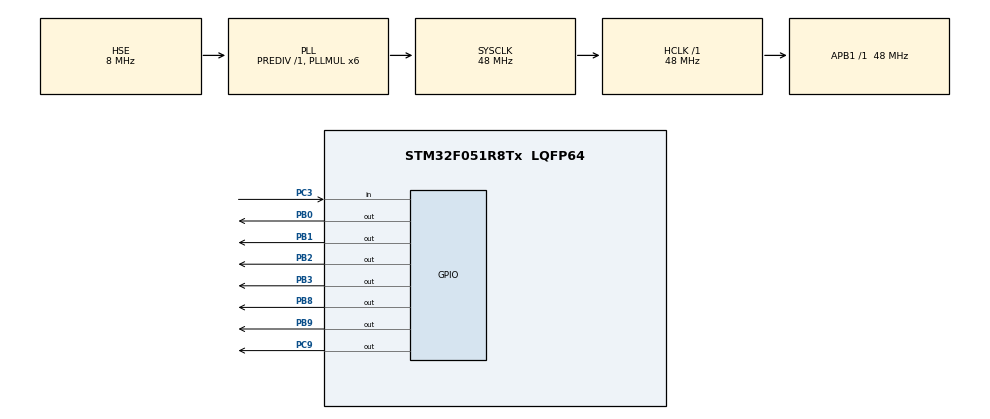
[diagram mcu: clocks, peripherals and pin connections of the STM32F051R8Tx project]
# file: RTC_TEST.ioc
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Mcu.Family=STM32F0
RCC.PLLSourceVirtual=RCC_PLLSOURCE_HSE
VP_IWDG_VS_IWDG.Mode=IWDG_Activate
RTC.AlarmDateWeekDay-Alarm\ A=12
VP_RTC_VS_RTC_Activate.Mode=RTC_Enabled
RTC.WeekDay=RTC_WEEKDAY_THURSDAY
VP_RTC_VS_RTC_Alarm_A_Intern.Mode=Alarm A
RCC.SYSCLKSource=RCC_SYSCLKSOURCE_PLLCLK
ProjectManager.StackSize=0x400
NVIC.RTC_IRQn=true\:0\:0\:false\:false\:true\:true\:true
ProjectManager.TargetToolchain=STM32CubeIDE
RCC.HCLKFreq_Value=48000000
PC3.Signal=GPIO_Input
RCC.AHBFreq_Value=48000000
PF0-OSC_IN.Mode=HSE-External-Oscillator
RTC.Minutes=20
PB2.Signal=GPIO_Output
board=STM32F0DISCOVERY
RCC.PLLMUL=RCC_PLL_MUL6
RTC.Month=RTC_MONTH_JUNE
Mcu.Name=STM32F051R8Tx
RTC.Alarm-Alarm\ A=RTC_ALARM_A
RTC.Hours_A-Alarm\ A=10
RTC.Minutes_A-Alarm\ A=21
PB3.Signal=GPIO_Output
RCC.SYSCLKFreq_VALUE=48000000
RTC.Hours=10
Mcu.Package=LQFP64
PB9.Signal=GPIO_Output
PB1.Signal=GPIO_Output
VP_RTC_VS_RTC_Calendar.Mode=RTC_Calendar
ProjectManager.HeapSize=0x200
IWDG.Prescaler=IWDG_PRESCALER_128
RCC.APB1TimFreq_Value=48000000
PB8.Signal=GPIO_Output
PC9.Signal=GPIO_Output
PF0-OSC_IN.Signal=RCC_OSC_IN
PF1-OSC_OUT.Mode=HSE-External-Oscillator
RTC.Seconds=30
RCC.APB1Freq_Value=48000000
PB0.Signal=GPIO_Output
IWDG.Window=312
RTC.Date=12
PF1-OSC_OUT.Signal=RCC_OSC_OUT

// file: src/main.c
/* USER CODE BEGIN Header */
/**
  ******************************************************************************
  * @file           : main.c
  * @brief          : Main program body
  ******************************************************************************
  * @attention
  *
  * <h2><center>&copy; Copyright (c) 2021 STMicroelectronics.
  * All rights reserved.</center></h2>
  *
  * This software component is licensed by ST under BSD 3-Clause license,
  * the "License"; You may not use this file except in compliance with the
  * License. You may obtain a copy of the License at:
  *                        opensource.org/licenses/BSD-3-Clause
  *
  ******************************************************************************
  */
/* USER CODE END Header */
#include "main.h"

/* USER CODE BEGIN Includes */
#include "LCD.h"
#include "stdio.h"
/* USER CODE END Includes */

IWDG_HandleTypeDef hiwdg;

RTC_HandleTypeDef hrtc;

/* USER CODE BEGIN PV */
RTC_DateTypeDef gDate;
RTC_TimeTypeDef gTime;
char time[10];
char date[10];
/* USER CODE END PV */

void SystemClock_Config(void);
static void MX_GPIO_Init(void);
static void MX_RTC_Init(void);
static void MX_IWDG_Init(void);

/* USER CODE BEGIN 0 */
//-------------------------------------------------------------------------------------

void Set_Time(void)
{
	  RTC_TimeTypeDef sTime = {0};
	  RTC_DateTypeDef sDate = {0};

	  sTime.Hours = 0x17;
	  sTime.Minutes = 0x18;
	  sTime.Seconds = 0x00;
	  sTime.DayLightSaving = RTC_DAYLIGHTSAVING_NONE;
	  sTime.StoreOperation = RTC_STOREOPERATION_RESET;

	  if (HAL_RTC_SetTime(&hrtc, &sTime, RTC_FORMAT_BCD) != HAL_OK)
	  {
		  Error_Handler();
	  }
	  sDate.WeekDay = RTC_WEEKDAY_THURSDAY;
	  sDate.Month = RTC_MONTH_JUNE;
	  sDate.Date = 0x07;
	  sDate.Year = 0x21;

	  if (HAL_RTC_SetDate(&hrtc, &sDate, RTC_FORMAT_BCD) != HAL_OK)
	  {
		  Error_Handler();
	  }

	  HAL_RTCEx_BKUPWrite(&hrtc, RTC_BKP_DR1, 0x32F2);
}

//-------------------------------------------------------------------------------------

void Set_Alarm(void)
{
	  RTC_AlarmTypeDef sAlarm = {0};

	  sAlarm.AlarmTime.Hours = 0x10;
	  sAlarm.AlarmTime.Minutes = 0x21;
	  sAlarm.AlarmTime.Seconds = 0x0;
	  sAlarm.AlarmTime.SubSeconds = 0x0;
	  sAlarm.AlarmTime.DayLightSaving = RTC_DAYLIGHTSAVING_NONE;
	  sAlarm.AlarmTime.StoreOperation = RTC_STOREOPERATION_RESET;
	  sAlarm.AlarmMask = RTC_ALARMMASK_NONE;
	  sAlarm.AlarmSubSecondMask = RTC_ALARMSUBSECONDMASK_ALL;
	  sAlarm.AlarmDateWeekDaySel = RTC_ALARMDATEWEEKDAYSEL_DATE;
	  sAlarm.AlarmDateWeekDay = 0x12;
	  sAlarm.Alarm = RTC_ALARM_A;

	  if (HAL_RTC_SetAlarm_IT(&hrtc, &sAlarm, RTC_FORMAT_BCD) != HAL_OK)
	  {
		  Error_Handler();
	  }
}

//-------------------------------------------------------------------------------------

void Get_Time(void)
{
	HAL_RTC_GetTime(&hrtc, &gTime, RTC_FORMAT_BIN);
	HAL_RTC_GetDate(&hrtc, &gDate, RTC_FORMAT_BIN);
}

//-------------------------------------------------------------------------------------

void Display_Time(void)
{
	LCD_SetPos(3,0);
	sprintf((char *)time,"%02d:%02d:%02d",gTime.Hours, gTime.Minutes, gTime.Seconds);
	LCD_String(time);

	LCD_SetPos(3,1);
	sprintf((char *)date,"%02d:%02d:%02d",gDate.Date, gDate.Month, 2000 + gDate.Year);
	LCD_String(date);
}

/* USER CODE END 0 */

int main(void)
{

  /* MCU Configuration--------------------------------------------------------*/

  /* Reset of all peripherals, Initializes the Flash interface and the Systick. */
  HAL_Init();

  /* Configure the system clock */
  SystemClock_Config();

  /* Initialize all configured peripherals */
  MX_GPIO_Init();
  MX_RTC_Init();
  MX_IWDG_Init();
  /* USER CODE BEGIN 2 */

  LCD_ini();

  if (HAL_RTCEx_BKUPRead(&hrtc, RTC_BKP_DR1) != 0x32F2)
  {
	  Set_Time();
  }

  /* USER CODE END 2 */

  /* Infinite loop */
  /* USER CODE BEGIN WHILE */
  while (1)
  {
	  Get_Time();
	  Display_Time();
	  HAL_Delay(70);
	  HAL_IWDG_Refresh(&hiwdg);
	  HAL_Delay(850);
	  HAL_GPIO_TogglePin(GPIOC, GPIO_PIN_9);

    /* USER CODE END WHILE */

  }
}

void SystemClock_Config(void)
{
  RCC_OscInitTypeDef RCC_OscInitStruct = {0};
  RCC_ClkInitTypeDef RCC_ClkInitStruct = {0};
  RCC_PeriphCLKInitTypeDef PeriphClkInit = {0};

  /** Initializes the RCC Oscillators according to the specified parameters
  * in the RCC_OscInitTypeDef structure.
  */
  RCC_OscInitStruct.OscillatorType = RCC_OSCILLATORTYPE_LSI|RCC_OSCILLATORTYPE_HSE;
  RCC_OscInitStruct.HSEState = RCC_HSE_ON;
  RCC_OscInitStruct.LSIState = RCC_LSI_ON;
  RCC_OscInitStruct.PLL.PLLState = RCC_PLL_ON;
  RCC_OscInitStruct.PLL.PLLSource = RCC_PLLSOURCE_HSE;
  RCC_OscInitStruct.PLL.PLLMUL = RCC_PLL_MUL6;
  RCC_OscInitStruct.PLL.PREDIV = RCC_PREDIV_DIV1;
  if (HAL_RCC_OscConfig(&RCC_OscInitStruct) != HAL_OK)
  {
    Error_Handler();
  }
  /** Initializes the CPU, AHB and APB buses clocks
  */
  RCC_ClkInitStruct.ClockType = RCC_CLOCKTYPE_HCLK|RCC_CLOCKTYPE_SYSCLK
                              |RCC_CLOCKTYPE_PCLK1;
  RCC_ClkInitStruct.SYSCLKSource = RCC_SYSCLKSOURCE_PLLCLK;
  RCC_ClkInitStruct.AHBCLKDivider = RCC_SYSCLK_DIV1;
  RCC_ClkInitStruct.APB1CLKDivider = RCC_HCLK_DIV1;

  if (HAL_RCC_ClockConfig(&RCC_ClkInitStruct, FLASH_LATENCY_1) != HAL_OK)
  {
    Error_Handler();
  }
  PeriphClkInit.PeriphClockSelection = RCC_PERIPHCLK_RTC;
  PeriphClkInit.RTCClockSelection = RCC_RTCCLKSOURCE_LSI;
  if (HAL_RCCEx_PeriphCLKConfig(&PeriphClkInit) != HAL_OK)
  {
    Error_Handler();
  }
}

static void MX_IWDG_Init(void)
{

  hiwdg.Instance = IWDG;
  hiwdg.Init.Prescaler = IWDG_PRESCALER_64;
  hiwdg.Init.Window = 625;
  hiwdg.Init.Reload = 624;
  if (HAL_IWDG_Init(&hiwdg) != HAL_OK)
  {
    Error_Handler();
  }

}

static void MX_RTC_Init(void)
{

  /** Initialize RTC Only
  */
  hrtc.Instance = RTC;
  hrtc.Init.HourFormat = RTC_HOURFORMAT_24;
  hrtc.Init.AsynchPrediv = 127;
  hrtc.Init.SynchPrediv = 255;
  hrtc.Init.OutPut = RTC_OUTPUT_DISABLE;
  hrtc.Init.OutPutPolarity = RTC_OUTPUT_POLARITY_HIGH;
  hrtc.Init.OutPutType = RTC_OUTPUT_TYPE_OPENDRAIN;
  if (HAL_RTC_Init(&hrtc) != HAL_OK)
  {
    Error_Handler();
  }

  /** Initialize RTC and set the Time and Date
  */

}

static void MX_GPIO_Init(void)
{
  GPIO_InitTypeDef GPIO_InitStruct = {0};

  /* GPIO Ports Clock Enable */
  __HAL_RCC_GPIOF_CLK_ENABLE();
  __HAL_RCC_GPIOC_CLK_ENABLE();
  __HAL_RCC_GPIOB_CLK_ENABLE();

  /*Configure GPIO pin Output Level */
  HAL_GPIO_WritePin(GPIOB, GPIO_PIN_0|GPIO_PIN_1|GPIO_PIN_2|GPIO_PIN_3
                          |GPIO_PIN_8|GPIO_PIN_9, GPIO_PIN_RESET);

  /*Configure GPIO pin Output Level */
  HAL_GPIO_WritePin(GPIOC, GPIO_PIN_9, GPIO_PIN_RESET);

  /*Configure GPIO pin : PC3 */
  GPIO_InitStruct.Pin = GPIO_PIN_3;
  GPIO_InitStruct.Mode = GPIO_MODE_INPUT;
  GPIO_InitStruct.Pull = GPIO_NOPULL;
  HAL_GPIO_Init(GPIOC, &GPIO_InitStruct);

  /*Configure GPIO pins : PB0 PB1 PB2 PB3
                           PB8 PB9 */
  GPIO_InitStruct.Pin = GPIO_PIN_0|GPIO_PIN_1|GPIO_PIN_2|GPIO_PIN_3
                          |GPIO_PIN_8|GPIO_PIN_9;
  GPIO_InitStruct.Mode = GPIO_MODE_OUTPUT_PP;
  GPIO_InitStruct.Pull = GPIO_NOPULL;
  GPIO_InitStruct.Speed = GPIO_SPEED_FREQ_LOW;
  HAL_GPIO_Init(GPIOB, &GPIO_InitStruct);

  /*Configure GPIO pin : PC9 */
  GPIO_InitStruct.Pin = GPIO_PIN_9;
  GPIO_InitStruct.Mode = GPIO_MODE_OUTPUT_PP;
  GPIO_InitStruct.Pull = GPIO_NOPULL;
  GPIO_InitStruct.Speed = GPIO_SPEED_FREQ_LOW;
  HAL_GPIO_Init(GPIOC, &GPIO_InitStruct);

}

void Error_Handler(void)
{
}

/************************ (C) COPYRIGHT STMicroelectronics *****END OF FILE****/
